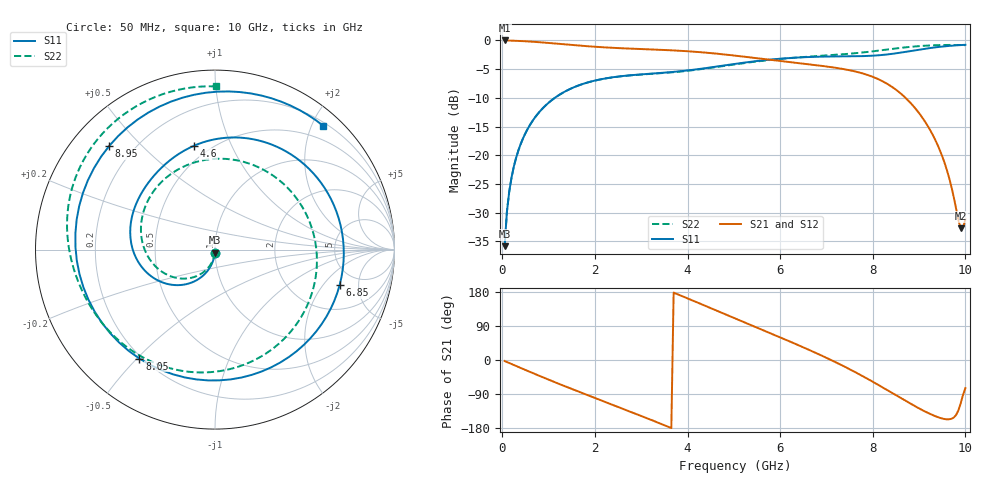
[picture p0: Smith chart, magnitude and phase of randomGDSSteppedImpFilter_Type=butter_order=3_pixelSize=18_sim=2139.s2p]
! freq	dB(S11)	phase(S11)	dB(S12)	phase(S12)
!  dB(S21)	phase(S21)	dB(S22)	phase(S22)
!S-par simulation data
#  GHz  S  DB  R 50
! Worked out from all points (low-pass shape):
!   200 points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, 50 MHz to 10 GHz, reference 50 ohm
!   highest |S21| = 0.00 dB at 50 MHz (marker M1); lowest = -32.7 dB at 9.9 GHz (marker M2)
!   |S21| within 3 dB of the highest: start of sweep to 5.405 GHz
!   lowest |S11| = -35.8 dB at 50 MHz (marker M3), VSWR 1.03, Z = 49.9 - j1.61 ohm
!   |S11| at or under -10 dB: start of sweep to 1.133 GHz
!   |S22| runs from -35.8 to -0.8 dB; largest |S21 - S12| = 0
!   S11 on the Smith chart (normalised r, x): 50 MHz: 1.00, -0.03; 4.6 GHz: 0.41, +0.73; 6.85 GHz: 3.61, -2.98; 8.05 GHz: 0.19, -0.51; 8.95 GHz: 0.11, +0.40; 10 GHz: 0.25, +2.17
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0.05  -35.82 -92.5  -0.00 -2.7  -0.00 -2.7  -35.82 -93.1
0.1  -29.81 -95.0  -0.01 -5.4  -0.01 -5.4  -29.81 -96.1
0.2  -23.83 -99.9  -0.04 -10.6  -0.04 -10.6  -23.84 -102.2
0.5  -16.14 -114.1  -0.14 -26.4  -0.14 -26.4  -16.15 -119.9
1.1  -10.20 -140.6  -0.51 -56.8  -0.51 -56.8  -10.20 -154.3
1.75  -7.54 -166.7  -0.95 -88.3  -0.95 -88.3  -7.55 168.7
2.7  -6.11 160.5  -1.40 -133.1  -1.40 -133.1  -6.13 111.9
3.4  -5.68 139.3  -1.63 -167.1  -1.63 -167.1  -5.72 65.3
4.05  -5.18 120.0  -1.91 160.1  -1.91 160.1  -5.24 19.2
4.6  -4.58 101.6  -2.28 131.8  -2.28 131.8  -4.65 -18.5
5.05  -4.06 83.9  -2.67 108.6  -2.67 108.6  -4.13 -46.9
5.9  -3.25 43.3  -3.48 64.9  -3.48 64.9  -3.30 -92.5
6.7  -2.86 -5.3  -4.24 22.6  -4.24 22.6  -2.77 -127.6
6.85  -2.83 -15.9  -4.38 14.2  -4.38 14.2  -2.69 -133.6
7.55  -2.76 -73.6  -5.27 -27.5  -5.27 -27.5  -2.28 -159.8
8.05  -2.63 -124.7  -6.50 -60.9  -6.50 -60.9  -1.85 -178.3
8.35  -2.40 -158.4  -7.75 -82.2  -7.75 -82.2  -1.54 169.9
8.65  -2.06 167.8  -9.56 -103.8  -9.56 -103.8  -1.25 157.1
8.95  -1.67 135.6  -12.14 -124.5  -12.14 -124.5  -1.02 143.5
9.4  -1.16 93.4  -18.20 -150.6  -18.20 -150.6  -0.82 121.4
9.9  -0.80 55.5  -32.68 -113.7  -32.68 -113.7  -0.80 95.1
10  -0.76 48.9  -31.16 -74.2  -31.16 -74.2  -0.83 89.6
